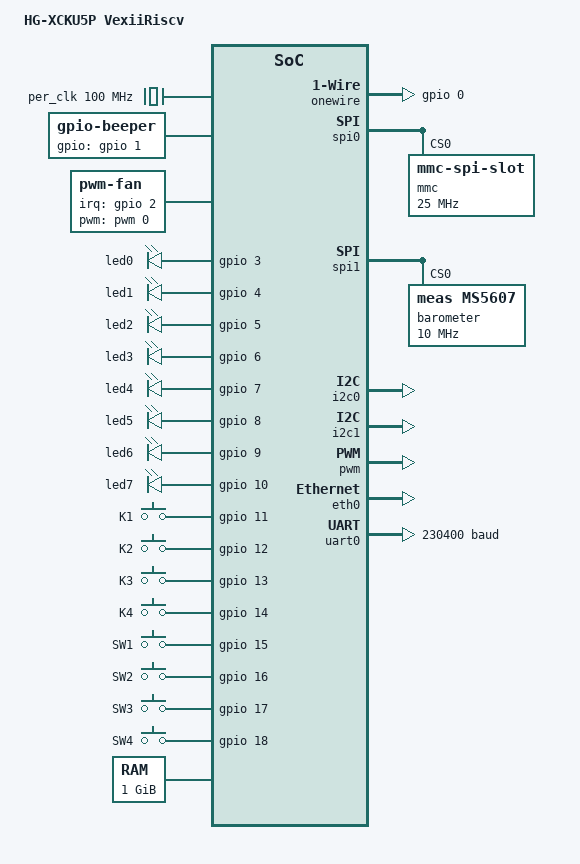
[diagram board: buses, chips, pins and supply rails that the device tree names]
// SPDX-License-Identifier: MIT
/*
 * HG-XCKU5P minimal SoC (included by hg-xcku5p.dts and hg-xcku5p-sdroot.dts): VexiiRiscv RV64IMA (no C/F/D), CPU on the DDR4 user clock.
 * Memory map is fixed by fpga/rtl/soc_top.v and fpga/scripts/cpu/gen_soc.sh; keep them consistent.
 * The first MiB of DDR4 holds the ROM loader's stack until OpenSBI takes over at 0x40100000.
 */
/ {
	#address-cells = <1>;
	#size-cells = <1>;
	compatible = "hamgeek,hg-xcku5p", "vexiiriscv";
	model = "HG-XCKU5P VexiiRiscv";

	chosen {
		stdout-path = "serial0:230400n8";
	};

	aliases {
		serial0 = &uart0;
	};

	cpus {
		#address-cells = <1>;
		#size-cells = <0>;
		timebase-frequency = <333333333>;

		cpu0: cpu@0 {
			device_type = "cpu";
			compatible = "spinalhdl,vexiiriscv", "riscv";
			reg = <0>;
			riscv,isa = "rv64ima_zicsr_zifencei";
			riscv,isa-base = "rv64i";
			riscv,isa-extensions = "i", "m", "a", "zicsr", "zifencei";
			mmu-type = "riscv,sv39";
			status = "okay";

			cpu0_intc: interrupt-controller {
				#interrupt-cells = <1>;
				interrupt-controller;
				compatible = "riscv,cpu-intc";
			};
		};
	};

	per_clk: clock-100m {
		compatible = "fixed-clock";
		#clock-cells = <0>;
		clock-frequency = <100000000>;
	};

	/* flags 6 = GPIO_OPEN_DRAIN (single ended, open drain) */
	onewire {
		compatible = "w1-gpio";
		gpios = <&gpio 0 6>;
	};

	beeper {
		compatible = "gpio-beeper";
		gpios = <&gpio 1 0>;
	};

	/* 4-wire fan: PWM 25 kHz, tach 2 pulses per revolution on the GPIO interrupt (falling edge) */
	fan {
		compatible = "pwm-fan";
		pwms = <&pwm 0 40000 0>;
		interrupt-parent = <&gpio>;
		interrupts = <2 2>;
		pulses-per-revolution = <2>;
	};

	/* LED0-LED7 on the board: red, active high, off by default */
	leds {
		compatible = "gpio-leds";
		led0 { label = "led0"; gpios = <&gpio 3 0>; default-state = "off"; };
		led1 { label = "led1"; gpios = <&gpio 4 0>; default-state = "off"; };
		led2 { label = "led2"; gpios = <&gpio 5 0>; default-state = "off"; };
		led3 { label = "led3"; gpios = <&gpio 6 0>; default-state = "off"; };
		led4 { label = "led4"; gpios = <&gpio 7 0>; default-state = "off"; };
		led5 { label = "led5"; gpios = <&gpio 8 0>; default-state = "off"; };
		led6 { label = "led6"; gpios = <&gpio 9 0>; default-state = "off"; };
		led7 { label = "led7"; gpios = <&gpio 10 0>; default-state = "off"; };
	};

	/*
	 * Pushbuttons K1-K4 (KEY_1..KEY_4, active high) and DIP switches SW1-SW4 (reported as BTN_0..BTN_3 while the switch reads 1).
	 * K1 is also the SoC reset: pressing it resets the DDR4 controller and holds the CPU in reset, so Linux only ever sees it released.
	 * Polled every 20 ms, which also debounces.
	 */
	keys {
		compatible = "gpio-keys-polled";
		poll-interval = <20>;
		key-k1 { label = "K1"; gpios = <&gpio 11 0>; linux,code = <2>; };
		key-k2 { label = "K2"; gpios = <&gpio 12 0>; linux,code = <3>; };
		key-k3 { label = "K3"; gpios = <&gpio 13 0>; linux,code = <4>; };
		key-k4 { label = "K4"; gpios = <&gpio 14 0>; linux,code = <5>; };
		sw1 { label = "SW1"; gpios = <&gpio 15 0>; linux,code = <0x100>; };
		sw2 { label = "SW2"; gpios = <&gpio 16 0>; linux,code = <0x101>; };
		sw3 { label = "SW3"; gpios = <&gpio 17 0>; linux,code = <0x102>; };
		sw4 { label = "SW4"; gpios = <&gpio 18 0>; linux,code = <0x103>; };
	};

	memory@40000000 {
		device_type = "memory";
		reg = <0x40000000 0x40000000>;
	};

	soc {
		#address-cells = <1>;
		#size-cells = <1>;
		compatible = "simple-bus";
		ranges;

		clint: timer@f0010000 {
			compatible = "sifive,clint0", "riscv,clint0";
			reg = <0xf0010000 0x10000>;
			interrupts-extended = <&cpu0_intc 3>, <&cpu0_intc 7>;
		};

		plic: interrupt-controller@f0c00000 {
			compatible = "sifive,plic-1.0.0", "riscv,plic0";
			reg = <0xf0c00000 0x400000>;
			#interrupt-cells = <1>;
			#address-cells = <0>;
			interrupt-controller;
			interrupts-extended = <&cpu0_intc 11>, <&cpu0_intc 9>;
			riscv,ndev = <31>;
		};

		/* SD card socket in SPI mode through the SiFive-compatible master (fpga/rtl/spi_sifive.v) */
		spi0: spi@f8002000 {
			compatible = "sifive,spi0";
			reg = <0xf8002000 0x1000>;
			interrupt-parent = <&plic>;
			interrupts = <2>;
			clocks = <&per_clk>;
			#address-cells = <1>;
			#size-cells = <0>;
			sifive,fifo-depth = <8>;
			sifive,max-bits-per-word = <8>;

			mmc@0 {
				compatible = "mmc-spi-slot";
				reg = <0>;
				spi-max-frequency = <25000000>;
				voltage-ranges = <3300 3300>;
				non-removable;
			};
		};

		/* MS5607 barometer on its own SiFive-compatible SPI master (SPI mode 0, <= 20 MHz per the datasheet) */
		spi1: spi@f8005000 {
			compatible = "sifive,spi0";
			reg = <0xf8005000 0x1000>;
			interrupt-parent = <&plic>;
			interrupts = <4>;
			clocks = <&per_clk>;
			#address-cells = <1>;
			#size-cells = <0>;
			sifive,fifo-depth = <8>;
			sifive,max-bits-per-word = <8>;

			barometer@0 {
				compatible = "meas,ms5607";
				reg = <0>;
				spi-max-frequency = <10000000>;
			};
		};

		/*
		 * AXI GPIO: 0 DS18B20 1-Wire (open drain, 4.7 k pull-up on the board), 1 buzzer (active high), 2 fan tach input,
		 * 3-10 LED0-7 (active high), 11-14 KEY_PL0-3 (active high), 15-18 SW1-4 (fpga/rtl/board_gpio_map.v)
		 */
		gpio: gpio@f8003000 {
			compatible = "xlnx,xps-gpio-1.00.a";
			reg = <0xf8003000 0x1000>;
			interrupt-parent = <&plic>;
			interrupts = <5>;
			interrupt-controller;
			#interrupt-cells = <2>;
			gpio-controller;
			#gpio-cells = <2>;
			xlnx,gpio-width = <19>;
			xlnx,is-dual = <0>;
			xlnx,all-inputs = <0>;
			xlnx,all-outputs = <0>;
			xlnx,dout-default = <0>;
			xlnx,tri-default = <0xffffffff>;
			xlnx,interrupt-present = <1>;
		};

		/*
		 * AXI IIC masters (100 kHz). i2c0 = PL_I2C with a BL24C02 (address strap not read; the bus is scanned first). i2c1 = the second
		 * bus with two BL24C256. No EEPROM nodes are declared: the buses are scanned read-only first and any at24 node added later is marked read-only.
		 */
		i2c0: i2c@f8006000 {
			compatible = "xlnx,xps-iic-2.00.a";
			reg = <0xf8006000 0x1000>;
			interrupt-parent = <&plic>;
			interrupts = <6>;
			clocks = <&per_clk>;
			clock-names = "pclk";
			#address-cells = <1>;
			#size-cells = <0>;
		};

		i2c1: i2c@f8007000 {
			compatible = "xlnx,xps-iic-2.00.a";
			reg = <0xf8007000 0x1000>;
			interrupt-parent = <&plic>;
			interrupts = <7>;
			clocks = <&per_clk>;
			clock-names = "pclk";
			#address-cells = <1>;
			#size-cells = <0>;
		};

		/* AXI Timer in PWM mode; fpga/rtl/soc_top.v inverts its output for the fan's NMOS driver, so the fan sees this duty directly */
		pwm: pwm@f8004000 {
			compatible = "xlnx,xps-timer-1.00.a";
			reg = <0xf8004000 0x1000>;
			clocks = <&per_clk>;
			clock-names = "s_axi_aclk";
			#pwm-cells = <3>;
			xlnx,count-width = <32>;
			xlnx,one-timer-only = <0>;
		};

		/*
		 * LiteEth MAC (fpga/ip/liteeth/liteeth_gmii.yml) behind the RTL8211EG in GMII mode. MDC/MDIO are not wired, so there is
		 * no PHY node: the driver does not use phylib and the link is whatever the PHY auto-negotiates. The MAC address is a
		 * locally administered default; a bootloader or the user should override it when more than one board shares a LAN.
		 */
		eth0: ethernet@f8009000 {
			compatible = "litex,liteeth";
			reg = <0xf8009000 0x100>, <0xf8008800 0x100>, <0xf800c000 0x2000>, <0xf800e000 0x100>;
			reg-names = "mac", "mdio", "buffer", "dma";
			interrupt-parent = <&plic>;
			interrupts = <3>, <8>;
			interrupt-names = "mac", "dma";
			litex,rx-slots = <2>;
			litex,tx-slots = <2>;
			litex,slot-size = <0x800>;
			local-mac-address = [02 48 47 4b 55 35];
		};

		uart0: serial@f8000000 {
			compatible = "xlnx,xps-uartlite-1.00.a";
			reg = <0xf8000000 0x1000>;
			interrupt-parent = <&plic>;
			interrupts = <1>;
			current-speed = <230400>;
			clock-frequency = <100000000>;
			xlnx,baudrate = <230400>;
			xlnx,data-bits = <8>;
			xlnx,use-parity = <0>;
		};
	};
};
